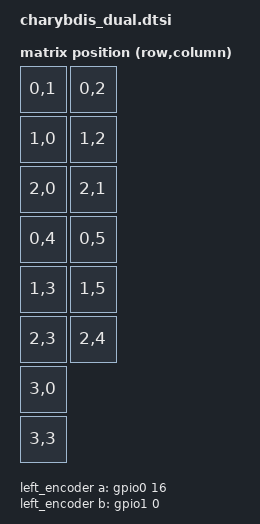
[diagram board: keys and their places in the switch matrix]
#include <dt-bindings/zmk/matrix_transform.h>
#include <zephyr/dt-bindings/gpio/gpio.h>

/ {
    default_transform: keymap_transform_0 {
        compatible = "zmk,matrix-transform";

        /*
         * 左3列 + 右3列
         *
         * row 0～2 = Charlieplex
         * row 3    = 専用BOOTボタン
         */
        columns = <6>;
        rows = <4>;

        /*
         * LEFT Charlieplex
         * local column 0～2
         *
         * RIGHT Charlieplex
         * col-offset = 3 により
         * local column 0～2 → global column 3～5
         *
         * BOOT
         * LEFT  = RC(3,0)
         * RIGHT = RC(3,3)
         */
        map = <
            /* LEFT */
            RC(0,1) RC(0,2)
            RC(1,0) RC(1,2)
            RC(2,0) RC(2,1)

            /* RIGHT */
            RC(0,4) RC(0,5)
            RC(1,3) RC(1,5)
            RC(2,3) RC(2,4)

            /* BOOT */
            RC(3,0)
            RC(3,3)
        >;
    };

    physical_layout0: physical_layout_0 {
        compatible = "zmk,physical-layout";
        display-name = "Charlieplex Dual Test";
        transform = <&default_transform>;
    };

    /*
     * スクロールホイール
     */
    left_encoder: encoder_left {
        compatible = "alps,ec11";

        a-gpios = <&gpio0 16 (GPIO_ACTIVE_HIGH | GPIO_PULL_UP)>;
        b-gpios = <&gpio1 0 (GPIO_ACTIVE_HIGH | GPIO_PULL_UP)>;

        steps = <24>;

        status = "disabled";
    };

    sensors: sensors {
        compatible = "zmk,keymap-sensors";
        sensors = <&left_encoder>;

        triggers-per-rotation = <24>;
    };

    chosen {
        zmk,physical-layout = &physical_layout0;
    };
};
